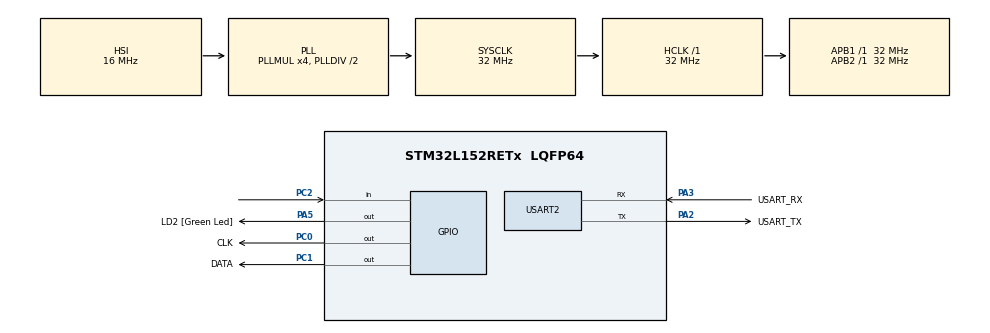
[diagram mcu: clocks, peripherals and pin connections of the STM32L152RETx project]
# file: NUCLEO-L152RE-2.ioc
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Mcu.Family=STM32L1
Mcu.Name=STM32L152RETx
Mcu.Package=LQFP64
NVIC.PriorityGroup=NVIC_PRIORITYGROUP_0
PA13.Mode=Serial_Wire
PA13.Signal=SYS_JTMS-SWDIO
PA14.Mode=Serial_Wire
PA14.Signal=SYS_JTCK-SWCLK
PA2.GPIO_Label=USART_TX
PA2.Mode=Asynchronous
PA2.Signal=USART2_TX
PA3.GPIO_Label=USART_RX
PA3.Mode=Asynchronous
PA3.Signal=USART2_RX
PA5.GPIO_Label=LD2 [Green Led]
PA5.Signal=GPIO_Output
PB3.GPIO_Label=SWO
PB3.Signal=SYS_JTDO-TRACESWO
PC0.GPIO_Label=CLK
PC0.Signal=GPIO_Output
PC1.GPIO_Label=DATA
PC1.Signal=GPIO_Output
PC14-OSC32_IN.Mode=LSE-External-Oscillator
PC14-OSC32_IN.Signal=RCC_OSC32_IN
PC15-OSC32_OUT.Mode=LSE-External-Oscillator
PC15-OSC32_OUT.Signal=RCC_OSC32_OUT
PC2.Signal=GPIO_Input
ProjectManager.HeapSize=0x200
ProjectManager.StackSize=0x400
ProjectManager.TargetToolchain=STM32CubeIDE
RCC.48MHZClocksFreq_Value=32000000
RCC.AHBFreq_Value=32000000
RCC.APB1Freq_Value=32000000
RCC.APB1TimFreq_Value=32000000
RCC.APB2Freq_Value=32000000
RCC.APB2TimFreq_Value=32000000
RCC.HCLKFreq_Value=32000000
RCC.HSE_VALUE=8000000
RCC.HSI_VALUE=16000000
RCC.MSIClockRange=RCC_MSIRANGE_6
RCC.MSI_VALUE=4194000
RCC.PLLMUL=RCC_PLL_MUL4
RCC.RTCClockSelectionVirtual=RCC_RTCCLKSOURCE_LSE
RCC.SYSCLKFreq_VALUE=32000000
RCC.SYSCLKSource=RCC_SYSCLKSOURCE_PLLCLK
RCC.USBOutput=48000000
RCC.VCOOutputFreq_Value=64000000
USART2.VirtualMode=VM_ASYNC
board=NUCLEO-L152RE

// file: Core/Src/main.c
/* USER CODE BEGIN Header */
/**
 ******************************************************************************
 * @file           : main.c
 * @brief          : Main program body
 ******************************************************************************
 * @attention
 *
 * <h2><center>&copy; Copyright (c) 2019 STMicroelectronics.
 * All rights reserved.</center></h2>
 *
 * This software component is licensed by ST under BSD 3-Clause license,
 * the "License"; You may not use this file except in compliance with the
 * License. You may obtain a copy of the License at:
 *                        opensource.org/licenses/BSD-3-Clause
 *
 ******************************************************************************
 */
// TM1637
// https://www.youtube.com/watch?v=424tdcaJZEE
// PA0 (28) DATA
// PA1 (30) CLK
/* USER CODE END Header */
#include "main.h"

/* USER CODE BEGIN Includes */
#include "TM1637.h"
#include <stdio.h>
#include <string.h>
/* USER CODE END Includes */

 UART_HandleTypeDef huart2;

void SystemClock_Config(void);
static void MX_GPIO_Init(void);
static void MX_USART2_UART_Init(void);

/* USER CODE BEGIN 0 */
char test[] = "Hello World L152RE\n";
volatile uint8_t displayColon = 0;
/* USER CODE END 0 */

int main(void)
{

  /* MCU Configuration--------------------------------------------------------*/

  /* Reset of all peripherals, Initializes the Flash interface and the Systick. */
  HAL_Init();

  /* Configure the system clock */
  SystemClock_Config();

  /* Initialize all configured peripherals */
  MX_GPIO_Init();
  MX_USART2_UART_Init();
  /* USER CODE BEGIN 2 */
	TM1637_Init();
	TM1637_SetBrightness(7);
  /* USER CODE END 2 */

  /* Infinite loop */
  /* USER CODE BEGIN WHILE */

	while (1) {
		HAL_GPIO_TogglePin(LD2_GPIO_Port, LD2_Pin);
		HAL_Delay(2000);
		printf("run\n");
		HAL_UART_Transmit(&huart2, (uint8_t*) test, strlen(test), 100);

		for (int var = 0; var < 100; var++) {
			displayColon = !displayColon;
			TM1637_DisplayDecimal(var, displayColon);
			HAL_Delay(500);
		}
    /* USER CODE END WHILE */

	}
}

void SystemClock_Config(void)
{
  RCC_OscInitTypeDef RCC_OscInitStruct = {0};
  RCC_ClkInitTypeDef RCC_ClkInitStruct = {0};

  /** Configure the main internal regulator output voltage
  */
  __HAL_PWR_VOLTAGESCALING_CONFIG(PWR_REGULATOR_VOLTAGE_SCALE1);

  /** Initializes the RCC Oscillators according to the specified parameters
  * in the RCC_OscInitTypeDef structure.
  */
  RCC_OscInitStruct.OscillatorType = RCC_OSCILLATORTYPE_HSI;
  RCC_OscInitStruct.HSIState = RCC_HSI_ON;
  RCC_OscInitStruct.HSICalibrationValue = RCC_HSICALIBRATION_DEFAULT;
  RCC_OscInitStruct.PLL.PLLState = RCC_PLL_ON;
  RCC_OscInitStruct.PLL.PLLSource = RCC_PLLSOURCE_HSI;
  RCC_OscInitStruct.PLL.PLLMUL = RCC_PLL_MUL4;
  RCC_OscInitStruct.PLL.PLLDIV = RCC_PLL_DIV2;
  if (HAL_RCC_OscConfig(&RCC_OscInitStruct) != HAL_OK)
  {
    Error_Handler();
  }

  /** Initializes the CPU, AHB and APB buses clocks
  */
  RCC_ClkInitStruct.ClockType = RCC_CLOCKTYPE_HCLK|RCC_CLOCKTYPE_SYSCLK
                              |RCC_CLOCKTYPE_PCLK1|RCC_CLOCKTYPE_PCLK2;
  RCC_ClkInitStruct.SYSCLKSource = RCC_SYSCLKSOURCE_PLLCLK;
  RCC_ClkInitStruct.AHBCLKDivider = RCC_SYSCLK_DIV1;
  RCC_ClkInitStruct.APB1CLKDivider = RCC_HCLK_DIV1;
  RCC_ClkInitStruct.APB2CLKDivider = RCC_HCLK_DIV1;

  if (HAL_RCC_ClockConfig(&RCC_ClkInitStruct, FLASH_LATENCY_1) != HAL_OK)
  {
    Error_Handler();
  }
}

static void MX_USART2_UART_Init(void)
{

  huart2.Instance = USART2;
  huart2.Init.BaudRate = 115200;
  huart2.Init.WordLength = UART_WORDLENGTH_8B;
  huart2.Init.StopBits = UART_STOPBITS_1;
  huart2.Init.Parity = UART_PARITY_NONE;
  huart2.Init.Mode = UART_MODE_TX_RX;
  huart2.Init.HwFlowCtl = UART_HWCONTROL_NONE;
  huart2.Init.OverSampling = UART_OVERSAMPLING_16;
  if (HAL_UART_Init(&huart2) != HAL_OK)
  {
    Error_Handler();
  }

}

static void MX_GPIO_Init(void)
{
  GPIO_InitTypeDef GPIO_InitStruct = {0};

  /* GPIO Ports Clock Enable */
  __HAL_RCC_GPIOC_CLK_ENABLE();
  __HAL_RCC_GPIOA_CLK_ENABLE();
  __HAL_RCC_GPIOB_CLK_ENABLE();

  /*Configure GPIO pin Output Level */
  HAL_GPIO_WritePin(GPIOC, CLK_Pin|DATA_Pin, GPIO_PIN_RESET);

  /*Configure GPIO pin Output Level */
  HAL_GPIO_WritePin(LD2_GPIO_Port, LD2_Pin, GPIO_PIN_RESET);

  /*Configure GPIO pins : CLK_Pin DATA_Pin */
  GPIO_InitStruct.Pin = CLK_Pin|DATA_Pin;
  GPIO_InitStruct.Mode = GPIO_MODE_OUTPUT_PP;
  GPIO_InitStruct.Pull = GPIO_NOPULL;
  GPIO_InitStruct.Speed = GPIO_SPEED_FREQ_LOW;
  HAL_GPIO_Init(GPIOC, &GPIO_InitStruct);

  /*Configure GPIO pin : PC2 */
  GPIO_InitStruct.Pin = GPIO_PIN_2;
  GPIO_InitStruct.Mode = GPIO_MODE_INPUT;
  GPIO_InitStruct.Pull = GPIO_NOPULL;
  HAL_GPIO_Init(GPIOC, &GPIO_InitStruct);

  /*Configure GPIO pin : LD2_Pin */
  GPIO_InitStruct.Pin = LD2_Pin;
  GPIO_InitStruct.Mode = GPIO_MODE_OUTPUT_PP;
  GPIO_InitStruct.Pull = GPIO_NOPULL;
  GPIO_InitStruct.Speed = GPIO_SPEED_FREQ_LOW;
  HAL_GPIO_Init(LD2_GPIO_Port, &GPIO_InitStruct);

}

/* USER CODE BEGIN 4 */
int __io_putchar(int ch) {
	ITM_SendChar(ch);
	return (ch);
}
/* USER CODE END 4 */

void Error_Handler(void)
{
}
